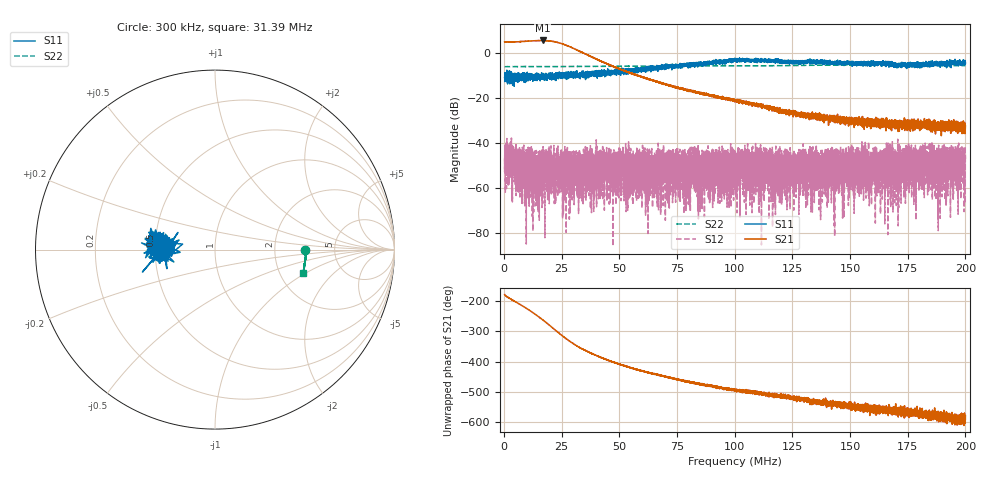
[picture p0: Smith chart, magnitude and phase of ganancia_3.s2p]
# Hz S DB R 50
! CMT, M5065, 19127446, 24.2.4/2
! Date: 10/29/2024 11:48:08 AM
! Data: Format (Calibration Info)
! Freq	S11:dB/Ang(F2)	S21:dB/Ang(F2)	S12:dB/Ang(F2)	S22:dB/Ang(F2)
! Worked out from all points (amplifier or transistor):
!   9000 points, 300 kHz to 200 MHz, reference 50 ohm
!   highest |S21| = 5.7 dB at 16.74 MHz (marker M1)
!   |S21| within 3 dB of that: start of sweep to 28.96 MHz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
!   unconditionally stable (mu >= 1): start of sweep to end of sweep
!   at 33.59 MHz: K = 539.80, MAG = 2.3 dB, |S12| = -64.8 dB
!   at 100.2 MHz: K = 686.09, MAG = -17.3 dB, |S12| = -49.8 dB
!   at 200 MHz: K = 2232.79, MAG = -29.1 dB, |S12| = -47.2 dB
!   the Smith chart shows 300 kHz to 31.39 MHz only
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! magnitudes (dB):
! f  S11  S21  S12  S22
! 300 kHz  -10.8  5.1  -46.9  -6.0
! 6.136 MHz  -9.3  5.2  -47.8  -5.9
! 16.74 MHz  -10.5  5.7  -47.8  -5.9
! 33.59 MHz  -9.5  0.5  -64.8  -5.9
! 47.63 MHz  -8.7  -6.0  -61.9  -5.8
! 50.85 MHz  -8.7  -7.2  -51.0  -5.8
! 54.29 MHz  -7.6  -8.6  -51.9  -5.7
! 57.91 MHz  -7.3  -9.9  -46.4  -5.7
! 62.39 MHz  -6.8  -11.3  -59.2  -5.7
! 66.87 MHz  -6.4  -12.8  -52.7  -5.7
! 79.81 MHz  -5.2  -16.5  -50.1  -5.7
! 81.85 MHz  -5.0  -17.1  -44.5  -5.7
! 84.76 MHz  -5.3  -17.8  -50.5  -5.6
! 86.82 MHz  -4.6  -18.2  -48.7  -5.6
! 100.2 MHz  -3.1  -21.6  -49.8  -5.6
! 133.4 MHz  -3.9  -27.3  -70.2  -5.4
! 155.8 MHz  -4.8  -31.1  -46.9  -5.3
! 157.8 MHz  -3.5  -29.4  -58.1  -5.3
! 166.7 MHz  -4.5  -32.4  -50.8  -5.3
! 182.5 MHz  -5.0  -31.9  -50.8  -5.4
! 188.1 MHz  -5.8  -32.5  -46.6  -5.5
! 200 MHz  -4.5  -32.5  -47.2  -5.5
